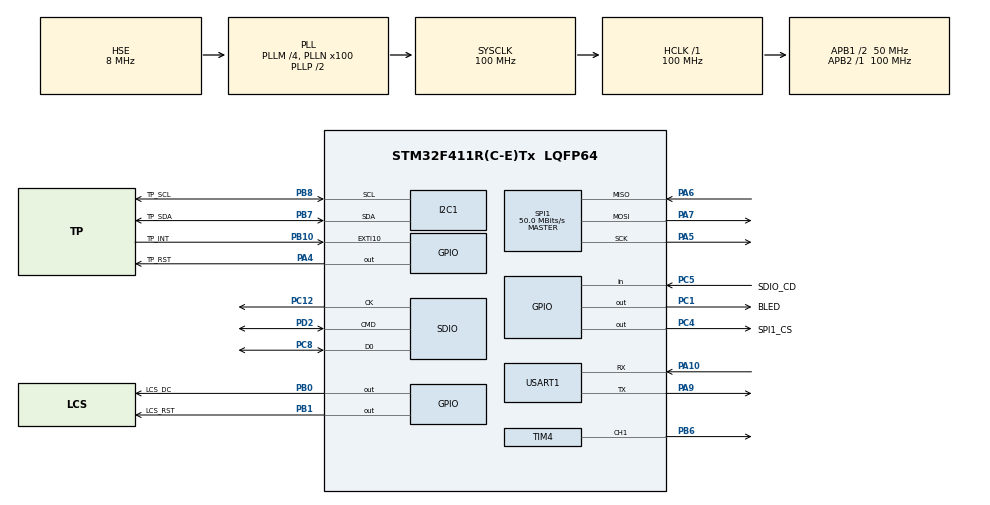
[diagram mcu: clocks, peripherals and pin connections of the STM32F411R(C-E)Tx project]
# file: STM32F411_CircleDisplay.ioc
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Dma.Request0=SDIO
Dma.Request1=SPI1_TX
Dma.SDIO.0.Direction=DMA_PERIPH_TO_MEMORY
Dma.SDIO.0.FIFOMode=DMA_FIFOMODE_ENABLE
Dma.SDIO.0.FIFOThreshold=DMA_FIFO_THRESHOLD_FULL
Dma.SDIO.0.Instance=DMA2_Stream3
Dma.SDIO.0.MemBurst=DMA_MBURST_INC4
Dma.SDIO.0.MemDataAlignment=DMA_MDATAALIGN_WORD
Dma.SDIO.0.MemInc=DMA_MINC_ENABLE
Dma.SDIO.0.Mode=DMA_PFCTRL
Dma.SDIO.0.PeriphBurst=DMA_PBURST_INC4
Dma.SDIO.0.PeriphDataAlignment=DMA_PDATAALIGN_WORD
Dma.SDIO.0.PeriphInc=DMA_PINC_DISABLE
Dma.SDIO.0.Priority=DMA_PRIORITY_LOW
Dma.SPI1_TX.1.Direction=DMA_MEMORY_TO_PERIPH
Dma.SPI1_TX.1.FIFOMode=DMA_FIFOMODE_DISABLE
Dma.SPI1_TX.1.Instance=DMA2_Stream2
Dma.SPI1_TX.1.MemDataAlignment=DMA_MDATAALIGN_BYTE
Dma.SPI1_TX.1.MemInc=DMA_MINC_ENABLE
Dma.SPI1_TX.1.Mode=DMA_NORMAL
Dma.SPI1_TX.1.PeriphDataAlignment=DMA_PDATAALIGN_BYTE
Dma.SPI1_TX.1.PeriphInc=DMA_PINC_DISABLE
Dma.SPI1_TX.1.Priority=DMA_PRIORITY_LOW
FATFS.BSP.number=1
FATFS._CODE_PAGE=950
FATFS._VOLUMES=1
FATFS0.BSP.STBoard=false
FATFS0.BSP.api=Unknown
FATFS0.BSP.instance=PC5
FATFS0.BSP.ip=GPIO
FATFS0.BSP.mode=Input
FATFS0.BSP.name=Detect_SDIO
FATFS0.BSP.solution=PC5
FREERTOS.Tasks01=defaultTask,24,128,StartDefaultTask,Default,NULL,Dynamic,NULL,NULL
FREERTOS.configUSE_NEWLIB_REENTRANT=1
Mcu.Family=STM32F4
Mcu.Name=STM32F411R(C-E)Tx
Mcu.Package=LQFP64
NVIC.DMA2_Stream2_IRQn=true\:6\:0\:true\:false\:true\:true\:false\:true\:true
NVIC.DMA2_Stream3_IRQn=true\:6\:0\:true\:false\:true\:true\:false\:true\:true
NVIC.EXTI15_10_IRQn=true\:6\:0\:true\:false\:true\:true\:true\:true\:true
NVIC.PriorityGroup=NVIC_PRIORITYGROUP_4
NVIC.SDIO_IRQn=true\:6\:0\:true\:false\:true\:true\:true\:true\:true
NVIC.SPI1_IRQn=true\:6\:0\:true\:false\:true\:true\:true\:true\:true
NVIC.TIM1_UP_TIM10_IRQn=true\:15\:0\:true\:false\:true\:false\:false\:true\:true
NVIC.TIM5_IRQn=true\:5\:0\:false\:false\:true\:true\:true\:true\:true
NVIC.TimeBase=TIM1_UP_TIM10_IRQn
NVIC.TimeBaseIP=TIM1
PA10.Mode=Asynchronous
PA10.Signal=USART1_RX
PA13.Mode=Serial_Wire
PA13.Signal=SYS_JTMS-SWDIO
PA14.Mode=Serial_Wire
PA14.Signal=SYS_JTCK-SWCLK
PA4.GPIO_Label=TP_RST
PA4.GPIO_PuPd=GPIO_PULLDOWN
PA4.Signal=GPIO_Output
PA5.GPIO_PuPd=GPIO_PULLDOWN
PA5.Mode=Full_Duplex_Master
PA5.Signal=SPI1_SCK
PA6.GPIO_PuPd=GPIO_PULLDOWN
PA6.Mode=Full_Duplex_Master
PA6.Signal=SPI1_MISO
PA7.GPIO_PuPd=GPIO_PULLDOWN
PA7.Mode=Full_Duplex_Master
PA7.Signal=SPI1_MOSI
PA9.Mode=Asynchronous
PA9.Signal=USART1_TX
PB0.GPIO_Label=LCS_DC
PB0.GPIO_PuPd=GPIO_PULLDOWN
PB0.Signal=GPIO_Output
PB1.GPIO_Label=LCS_RST
PB1.GPIO_PuPd=GPIO_PULLDOWN
PB1.Signal=GPIO_Output
PB10.GPIO_Label=TP_INT
PB10.GPIO_PuPd=GPIO_PULLDOWN
PB10.Signal=GPXTI10
PB6.GPIO_PuPd=GPIO_PULLDOWN
PB6.Signal=S_TIM4_CH1
PB7.GPIO_Label=TP_SDA
PB7.GPIO_Pu=GPIO_PULLUP
PB7.Mode=I2C
PB7.Signal=I2C1_SDA
PB8.GPIO_Label=TP_SCL
PB8.GPIO_Pu=GPIO_PULLUP
PB8.Mode=I2C
PB8.Signal=I2C1_SCL
PC1.GPIO_Label=BLED
PC1.Signal=GPIO_Output
PC12.GPIO_PuPd=GPIO_PULLUP
PC12.Mode=SD_1_bit
PC12.Signal=SDIO_CK
PC4.GPIO_Label=SPI1_CS
PC4.GPIO_PuPd=GPIO_PULLDOWN
PC4.Signal=GPIO_Output
PC5.GPIO_Label=SDIO_CD
PC5.GPIO_PuPd=GPIO_PULLUP
PC5.Signal=GPIO_Input
PC8.GPIO_PuPd=GPIO_PULLUP
PC8.Mode=SD_1_bit
PC8.Signal=SDIO_D0
PD2.GPIO_PuPd=GPIO_PULLUP
PD2.Mode=SD_1_bit
PD2.Signal=SDIO_CMD
PH0\ -\ OSC_IN.Mode=HSE-External-Oscillator
PH0\ -\ OSC_IN.Signal=RCC_OSC_IN
PH1\ -\ OSC_OUT.Mode=HSE-External-Oscillator
PH1\ -\ OSC_OUT.Signal=RCC_OSC_OUT
ProjectManager.HeapSize=0x400
ProjectManager.StackSize=0x800
ProjectManager.TargetToolchain=STM32CubeIDE
RCC.48MHZClocksFreq_Value=40000000
RCC.AHBFreq_Value=100000000
RCC.APB1CLKDivider=RCC_HCLK_DIV2
RCC.APB1Freq_Value=50000000
RCC.APB1TimFreq_Value=100000000
RCC.APB2Freq_Value=100000000
RCC.APB2TimFreq_Value=100000000
RCC.CortexFreq_Value=100000000
RCC.HCLKFreq_Value=100000000
RCC.HSE_VALUE=8000000
RCC.HSI_VALUE=16000000
RCC.LSE_VALUE=32768
RCC.PLLM=4
RCC.PLLN=100
RCC.PLLQ=5
RCC.PLLSourceVirtual=RCC_PLLSOURCE_HSE
RCC.SYSCLKFreq_VALUE=100000000
RCC.SYSCLKSource=RCC_SYSCLKSOURCE_PLLCLK
RCC.VCOOutputFreq_Value=200000000
SDIO.ClockDiv=98
SH.S_TIM4_CH1.0=TIM4_CH1,PWM Generation1 CH1
SPI1.BaudRatePrescaler=SPI_BAUDRATEPRESCALER_2
SPI1.CLKPhase=SPI_PHASE_2EDGE
SPI1.CLKPolarity=SPI_POLARITY_HIGH
SPI1.CalculateBaudRate=50.0 MBits/s
SPI1.Direction=SPI_DIRECTION_2LINES
SPI1.FirstBit=SPI_FIRSTBIT_MSB
SPI1.Mode=SPI_MODE_MASTER
SPI1.VirtualType=VM_MASTER
TIM4.AutoReloadPreload=TIM_AUTORELOAD_PRELOAD_ENABLE
TIM4.Channel-PWM\ Generation1\ CH1=TIM_CHANNEL_1
TIM4.OCPolarity_1=TIM_OCPOLARITY_HIGH
TIM4.Period=1000-1
TIM4.Prescaler=100-1
TIM5.AutoReloadPreload=TIM_AUTORELOAD_PRELOAD_ENABLE
TIM5.Period=1000-1
TIM5.Prescaler=100-1
USART1.VirtualMode=VM_ASYNC
VP_FATFS_VS_SDIO.Mode=SDIO
VP_FREERTOS_VS_CMSIS_V2.Mode=CMSIS_V2
VP_SYS_VS_tim1.Mode=TIM1
VP_TIM4_VS_ClockSourceINT.Mode=Internal
VP_TIM5_VS_ClockSourceINT.Mode=Internal
board=custom

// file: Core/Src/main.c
/* USER CODE BEGIN Header */
/**
  ******************************************************************************
  * @file           : main.c
  * @brief          : Main program body
  ******************************************************************************
  * @attention
  *
  * Copyright (c) 2025 STMicroelectronics.
  * All rights f_reserved.
  *
  * This software is licensed under terms that can be found in the LICENSE file
  * in the root directory of this software component.
  * If no LICENSE file comes with this software, it is provided AS-IS.
  *
  ******************************************************************************
  */
/* USER CODE END Header */
#include "main.h"
#include "cmsis_os.h"
#include "dma.h"
#include "fatfs.h"
#include "i2c.h"
#include "sdio.h"
#include "spi.h"
#include "tim.h"
#include "usart.h"
#include "gpio.h"

/* USER CODE BEGIN Includes */
//#include "LED_Task.h"
//#include "LCD_Task.h"
//#include "SD_Card_Task.h"
/* USER CODE END Includes */

/* USER CODE BEGIN PD */
//FIL fil;          // 文件對象
//FRESULT  f_res;      // FatFs 返回狀態
//BYTE work[4096];  // 工作缓冲区，至少 4KB
//
//UINT fnum;                    /* 文件成功读写数量 */
//BYTE WriteBuffer[] =              /* 写缓冲区*/
//    "欢迎使用野火STM32 F103开发板 今天是个好日子，新建文件系统测试文件\r\n";
//BYTE ReadBuffer[1024]= {0};       /* 读缓冲区 */
/* USER CODE END PD */

/* USER CODE BEGIN PM */
#ifdef __GNUC__
#define PUTCHAR_PROTOTYPE int __io_putchar(int ch)
#else
#define PUTCHAR_PROTOTYPE int fputc(int ch, FILE *f)
#endif

PUTCHAR_PROTOTYPE
{
	HAL_UART_Transmit(&huart1, (uint8_t *)&ch, 1, 100);
	return ch;
}
/* USER CODE END PM */

void SystemClock_Config(void);
void MX_FREERTOS_Init(void);

/* USER CODE BEGIN 0 */
//char SDPath[4];

// 傳送緩衝區
uint8_t txBuffer[5] = {0x01, 0x02, 0x03, 0x04, 0x05}; // 範例資料
#define BUFFER_SIZE sizeof(txBuffer)

/* USER CODE END 0 */

int main(void)
{

  /* MCU Configuration--------------------------------------------------------*/

  /* Reset of all peripherals, Initializes the Flash interface and the Systick. */
  HAL_Init();

  /* Configure the system clock */
  SystemClock_Config();

  /* Initialize all configured peripherals */
  MX_GPIO_Init();
  MX_DMA_Init();
  MX_USART1_UART_Init();
  MX_SDIO_SD_Init();
  MX_FATFS_Init();
  MX_SPI1_Init();
  MX_TIM4_Init();
  MX_I2C1_Init();
  MX_TIM5_Init();
  /* USER CODE BEGIN 2 */

  // Start timer4
  HAL_TIM_PWM_Start(&htim4, TIM_CHANNEL_1);
  // Start timer5
  HAL_TIM_Base_Start_IT(&htim5);

  /* USER CODE END 2 */

  /* Init scheduler */
  osKernelInitialize();

  /* Call init function for freertos objects (in cmsis_os2.c) */
  MX_FREERTOS_Init();

  /* Start scheduler */
  osKernelStart();

  /* We should never get here as control is now taken by the scheduler */

  /* Infinite loop */
  while (1)
  {

  }
}

void SystemClock_Config(void)
{
  RCC_OscInitTypeDef RCC_OscInitStruct = {0};
  RCC_ClkInitTypeDef RCC_ClkInitStruct = {0};

  /** Configure the main internal regulator output voltage
  */
  __HAL_RCC_PWR_CLK_ENABLE();
  __HAL_PWR_VOLTAGESCALING_CONFIG(PWR_REGULATOR_VOLTAGE_SCALE1);

  /** Initializes the RCC Oscillators according to the specified parameters
  * in the RCC_OscInitTypeDef structure.
  */
  RCC_OscInitStruct.OscillatorType = RCC_OSCILLATORTYPE_HSE;
  RCC_OscInitStruct.HSEState = RCC_HSE_ON;
  RCC_OscInitStruct.PLL.PLLState = RCC_PLL_ON;
  RCC_OscInitStruct.PLL.PLLSource = RCC_PLLSOURCE_HSE;
  RCC_OscInitStruct.PLL.PLLM = 4;
  RCC_OscInitStruct.PLL.PLLN = 100;
  RCC_OscInitStruct.PLL.PLLP = RCC_PLLP_DIV2;
  RCC_OscInitStruct.PLL.PLLQ = 5;
  if (HAL_RCC_OscConfig(&RCC_OscInitStruct) != HAL_OK)
  {
    Error_Handler();
  }

  /** Initializes the CPU, AHB and APB buses clocks
  */
  RCC_ClkInitStruct.ClockType = RCC_CLOCKTYPE_HCLK|RCC_CLOCKTYPE_SYSCLK
                              |RCC_CLOCKTYPE_PCLK1|RCC_CLOCKTYPE_PCLK2;
  RCC_ClkInitStruct.SYSCLKSource = RCC_SYSCLKSOURCE_PLLCLK;
  RCC_ClkInitStruct.AHBCLKDivider = RCC_SYSCLK_DIV1;
  RCC_ClkInitStruct.APB1CLKDivider = RCC_HCLK_DIV2;
  RCC_ClkInitStruct.APB2CLKDivider = RCC_HCLK_DIV1;

  if (HAL_RCC_ClockConfig(&RCC_ClkInitStruct, FLASH_LATENCY_3) != HAL_OK)
  {
    Error_Handler();
  }
}

/* USER CODE BEGIN 4 */
// configCHECK_FOR_STACK_OVERFLOW 設置為2
void vApplicationStackOverflowHook(TaskHandle_t pxTask, char *pcTaskName) {
	printf("Stack overflow in task: %s\n", pcTaskName);
	UBaseType_t stackHighWaterMark = uxTaskGetStackHighWaterMark(pxTask);
	printf("Remaining stack: %u words\n", stackHighWaterMark);
	vTaskSuspend(pxTask); // 暫停任務
    // 或者進入安全模式
    // while (1); // 僅用於調試，生產環境應避免
}
//void SD_mount_Fats(void)
//{
//    printf("****** 这是一个SD卡文件系统实验 ******\r\n");
//	/* 注册一个FatFS设备：SD卡 */
//    f_mount(NULL, "0:", 0);
//    HAL_Delay(500);  // 延迟 500ms
//	// 挂載 FatFs 文件系統
//    f_res = f_mount(&SDFatFS, SDPath, 1);
//	printf("挂载 SD 卡返回值: %d\r\n", f_res);
//	if (f_res != FR_OK) {
//	  printf("FatFs 挂載失敗，錯誤碼: %d\r\n", f_res);
////	  Error_Handler();
//	}
//	/*--------------- 格式化测试 ---------------*/
//	/* 如果没有文件系统就格式化创建创建文件系统 */
//	if (f_res == FR_NO_FILESYSTEM) {
//		printf(">> SD卡還沒有文件系統，即將進行格式化...\r\n");
//		/* 格式化 */
//		// 自动选择文件系统类型 (FM_ANY)
//		f_res=f_mkfs((TCHAR const*)SDPath, FM_FAT32, 0, work, sizeof(work));
//
//		if (f_res == FR_OK) {
//			printf(">> SD卡已成功格式化文件系統。\r\n");
//			/* 格式化后，先取消挂载 */
//			f_res = f_mount(NULL,(TCHAR const*)SDPath,1);
//			/* 重新挂载 */
//			f_res = f_mount(&SDFatFS,(TCHAR const*)SDPath,1);
//		} else {
//			printf("<< 格式化失敗: %d>>\r\n",f_res);
//			while (1);
//		}
//	} else if (f_res!=FR_OK) {
//		printf("!!SD卡掛載文件系統失敗。(%d)\r\n",f_res);
//		while (1);
//	} else {
//		printf(">> 文件系統掛載成功，可以進行讀寫測試\r\n");
//		ShowSDcardInfo();
//	}
//
//    /*---------- 文件系统测试：写测试 --------------*/
//    /* 打开文件，如果文件不存在则创建它 */
//    printf("****** 即将进行文件写入测试... ******\r\n");
//    f_res = f_open(&SDFile, "AAA.txt", FA_CREATE_ALWAYS|FA_WRITE);
//    if ( f_res == FR_OK ) {
//        printf("》打开/创建FatFs读写测试文件.txt文件成功，向文件写入数据。\r\n");
//        /* 将指定存储区内容写入到文件内 */
//        f_res=f_write(&SDFile,WriteBuffer,sizeof(WriteBuffer),&fnum);
//        if (f_res==FR_OK) {
//            printf("》文件写入成功，写入字节数据：%d\r\n",fnum);
//            printf("》向文件写入的数据为：\r\n%s\r\n",WriteBuffer);
//        } else {
//            printf("！！文件写入失败：(%d)\r\n",f_res);
//        }
//        /* 不再读写，关闭文件 */
//        f_close(&SDFile);
//    } else {
//        printf("！！打开/创建文件失败:%d\r\n",f_res);
//    }
//
//    /*----------- 文件系统测试：读测试 ---------------*/
//	printf("****** 即将进行文件读取测试... ******\r\n");
//	f_res = f_open(&SDFile, "AAA.txt", FA_OPEN_EXISTING | FA_READ);
//	if (f_res == FR_OK) {
//		printf("》打开文件成功。\r\n");
//		f_res = f_read(&SDFile, ReadBuffer, sizeof(ReadBuffer),&fnum);
//		if (f_res==FR_OK) {
//			printf("》文件读取成功,读到字节数据：%d\r\n",fnum);
//			printf("》读取得的文件数据为：\r\n%s \r\n",ReadBuffer);
//		} else {
//			printf("！！文件读取失败：(%d)\r\n",f_res);
//		}
//	} else {
//		printf("！！打开文件失败。\r\n");
//	}
//	/* 不再读写，关闭文件 */
//	f_close(&SDFile);
//
//	/* 不再使用，取消挂载 */
//	f_res = f_mount(NULL,(TCHAR const*)SDPath,1);
//
//}
/* USER CODE END 4 */

void HAL_TIM_PeriodElapsedCallback(TIM_HandleTypeDef *htim)
{
  if (htim->Instance == TIM1) {
    HAL_IncTick();
  }
}

void Error_Handler(void)
{
  __disable_irq();
  while (1)
  {
  }
}

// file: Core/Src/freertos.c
/* USER CODE BEGIN Header */
/**
  ******************************************************************************
  * File Name          : freertos.c
  * Description        : Code for freertos applications
  ******************************************************************************
  * @attention
  *
  * Copyright (c) 2025 STMicroelectronics.
  * All rights reserved.
  *
  * This software is licensed under terms that can be found in the LICENSE file
  * in the root directory of this software component.
  * If no LICENSE file comes with this software, it is provided AS-IS.
  *
  ******************************************************************************
  */
/* USER CODE END Header */

#include "FreeRTOS.h"
#include "task.h"
#include "main.h"
#include "cmsis_os.h"

/* USER CODE BEGIN Includes */
#include "LED_Task.h"
#include "LCD_Task.h"
#include "SD_Card_Task.h"
/* USER CODE END Includes */

/* Definitions for defaultTask */
osThreadId_t defaultTaskHandle;
const osThreadAttr_t defaultTask_attributes = {
  .name = "defaultTask",
  .stack_size = 128 * 4,
  .priority = (osPriority_t) osPriorityNormal,
};

void StartDefaultTask(void *argument);

void MX_FREERTOS_Init(void); /* (MISRA C 2004 rule 8.1) */

void MX_FREERTOS_Init(void) {
  /* USER CODE BEGIN Init */

//  SD_Card_Task_Init();
  LCD_Task_Init();
  LED_Task_Init();

  /* USER CODE END Init */

  /* Create the thread(s) */
  /* creation of defaultTask */
  defaultTaskHandle = osThreadNew(StartDefaultTask, NULL, &defaultTask_attributes);

}

void StartDefaultTask(void *argument)
{
  for(;;)
  {
    osDelay(1);
  }
}
